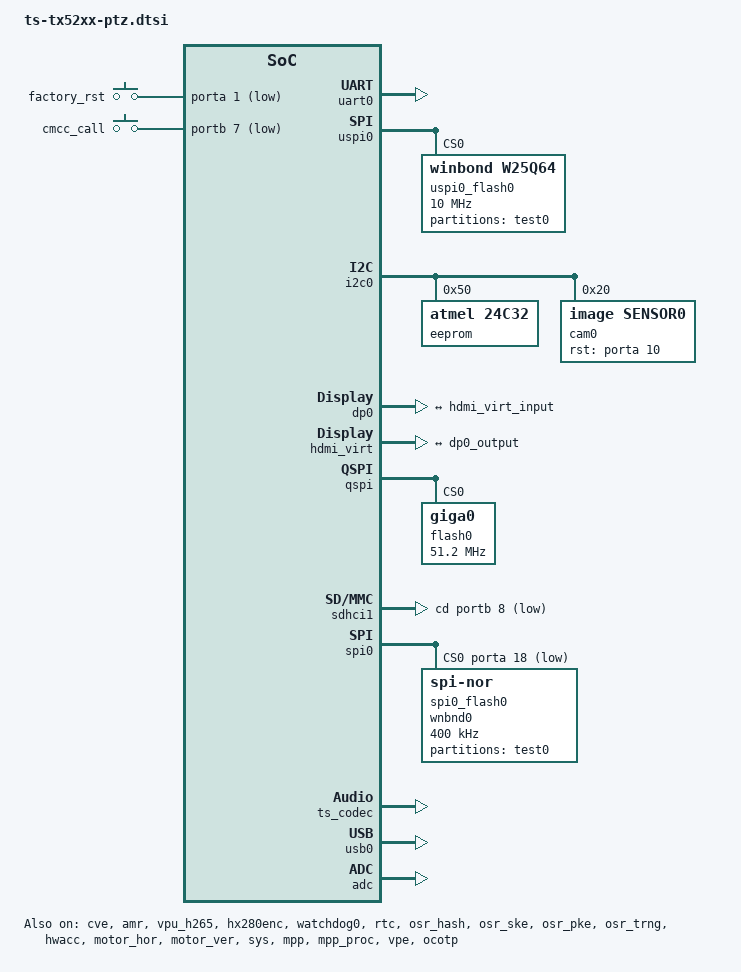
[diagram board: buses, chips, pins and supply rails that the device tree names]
/*
 * dts file for tsingmicro tx511 haps
 *
 * Copyright 2022 Tsingmicro, Inc.
 *
 * This program is free software; you can redistribute it and/or
 * modify it under the terms of the GNU General Public License as
 * published by the Free Software Foundation; either version 2 of
 * the License, or (at your option) any later version.
 */

#include "ts-tx5215.dtsi"
#include "ts-tx5215-clk.dtsi"
#include "ts-tx5215-reset.dtsi"
#include "ts-tx52xx-ptz-pinctrl.dtsi"

/ {
	chosen {
		/*bootargs = "console=ttyS0,115200n8 initrd=0xc4000000,4M init=/linuxrc
		 * root=/dev/ram0 rw rootfstype=ext4 rootwait ignore_loglevel earlycon";
		 */
		bootargs = "console=ttyS0,115200n8 ignore_loglevel earlycon";
		/*bootargs = "console=ttyS0,115200n8 ignore_loglevel";
		 *bootargs = "root=/dev/ram0 rw ramdisk=8192 initrd=0x41000000,8M
		 *console=ttyS0,115200n8 init=/linuxrc";
		 */
		stdout-path = "serial0:115200";
	};
	gpio-keys {
		compatible = "gpio-keys";
		pinctrl-names = "default","default";
		pinctrl-0 = <&gpioa1_pinctrl>;
		pinctrl-1 = <&gpiob7_pinctrl>;
		FACTORY {
			label = "factory_rst";
			gpios = <&porta 1 GPIO_ACTIVE_LOW>;
			linux,code = <0x101>;
			gpio-key,wakeup;
			debounce-interval = <10>;
		};

		CMCC_CALL {
			label = "cmcc_call";
			gpios = <&portb 7 GPIO_ACTIVE_LOW>;
			linux,code = <0x102>;
			gpio-key,wakeup;
			debounce-interval = <10>;
		};
	};
};

&uart0 {
	status = "okay";
};

&uart1 {
	pinctrl-names = "default";
	// pinctrl-0 = <&uart1_pinctrl>;
	status = "disable";
};

&uart2 {
	pinctrl-names = "default";
	// pinctrl-0 = <&uart2_pinctrl_0>;
	status = "disable";
};

&gpio0 {
	pinctrl-names = "default";
	// pinctrl-0 = <&gpioa25_pinctrl>;
	status = "okay";
};

&gpio1 {
	pinctrl-names = "default";
	pinctrl-0 = <&gpiob10_pinctrl &gpiob11_pinctrl>;
	status = "okay";
};

&usart0 {
	status = "disable";
};

&usart1 {
	status = "disable";
	pinctrl-names = "default";
	// pinctrl-0 = <&usi1_pinctrl_1>;
};

&rne_dma {
	status = "okay";
};

/*
 *&smmu {
 *	status = "disable";
 *};
 */

&uspi0 {
	status = "okay";
	#address-cells = <0x1>;
	#size-cells = <0x0>;
	pinctrl-names = "default";
	pinctrl-0 = <&usi0_pinctrl &gpioa24_pinctrl>;
	uspics-gpios = <&porta 24 GPIO_ACTIVE_HIGH>;
	uspi0_flash0:w25q64@00 {
		status = "okay";
		compatible = "winbond,w25q64","jedec,spi-nor";
		reg = <0>;
		spi-max-frequency = <10000000>;
		#address-cells = <1>;
		#size-cells = <1>;
		partition@usi2spi-test0{
			label = "test0";
			reg = <0x0 0x800000>; /* 8MB */
		};

	};
};

&i2c0 {
	status = "okay";
	pinctrl-names = "default";
	pinctrl-0 = <&i2c0_pinctrl_0>;
	eeprom: eeprom@50 {
		compatible = "atmel,24c32";
		reg = <0x50>;
		pagesize = <32>;
	};

	cam0: imgsensor0@20 {
		compatible = "image,sensor0";
		reg = <0x20>;

		pinctrl-names = "default", "default";
		pinctrl-0 = <&gpioa10_pinctrl>;
		pinctrl-1 = <&chip_out0_pinctrl>;
		rst-gpios = <&porta 10 GPIO_ACTIVE_HIGH>;

		clocks = <&ts_clk TS_CLK_TX5215_CHIP_OCLK_I0>;
		clock-names = "mclk";
		assigned-clocks = <&ts_clk TS_CLK_TX5215_CHIP_OCLK_I0>;
		assigned-clock-rates = <24000000>;
	};
};

&ui2c1 {
	status = "disable";
};


&i2c3 {
	status = "disable";
};


&dp0 {
	status = "okay";
	port {
		dp0_output: endpoint {
			remote-endpoint = <&hdmi_virt_input>;
		};
	};
};

&hdmi_virt {
	status = "okay";
	ports {
		port {
			#address-cells = <1>;
			#size-cells = <0>;

			hdmi_virt_input: endpoint@0 {
				reg = <0>;
				remote-endpoint = <&dp0_output>;
			};
		};
	};
};

&cve {
	status = "okay";
};

&amr {
	status = "okay";
};

&vpu_h265 {
	status = "okay";
};

&hx280enc {
	status = "okay";
};

&qspi {
	status = "okay";
	page-size = <256>;
	block-size = <16>;
	#address-cells = <1>;
	#size-cells = <0>;

#if 0
	nand1:spi-nand@0 {
		status = "okay";
		compatible = "spi-nand";
		reg = <0>; /* CS0 */
		//spi-max-frequency = <40000000>;
		spi-max-frequency = <20000000>;
		page-size = <2048>;
		block-size = <131072>;
		spi-rx-bus-width = <4>;
		spi-tx-bus-width = <4>;
		cdns,read-delay = <0>;
		cdns,tshsl-ns = <0>;
		cdns,tsd2d-ns = <0>;
		cdns,tchsh-ns = <0>;
		cdns,tslch-ns = <0>;
		partitions {
			compatible = "fixed-partitions";
			#address-cells = <1>;
			#size-cells = <1>;

			/* reserved for future boot direct from NAND flash
			 * (this would use the same layout as the 8MiB NOR flash)
			 */
			partition@0 {
				label = "nand-boot-reserved";
				reg = <0 0x800000>;
			};

			/* recovery / install environment */
			partition@800000 {
				label = "recovery";
				reg = <0x800000 0x2000000>;
			};

			/* ubia (first OpenWrt) - a/b names to prevent confusion with ubi0/1/etc. */
			partition@2800000 {
				label = "ubia";
				reg = <0x2800000 0x3C00000>;
			};
#if 0
			/* ubib (second OpenWrt) */
			partition@6400000 {
				label = "ubib";
				reg = <0x6400000 0x3C00000>;
			};
#endif
		};
	};

#else

	flash0: giga0@0 {
		reg = <0>; /* CS0 */
		cdns,read-delay = <2>;
		cdns,tshsl-ns = <40>;
		cdns,tsd2d-ns = <50>;
		cdns,tchsh-ns = <3>;
		cdns,tslch-ns = <4>;
		spi-max-frequency = <51200000>;
		#address-cells = <1>;
		#size-cells = <1>;
	};
#endif
};

&sdhci1 {
	status = "okay";
	max-frequency = <25000000>;
	no-1-8-v;
	pinctrl-names = "default";
	pinctrl-0 = <&mshc1_pinctrl &emmc1_pinctrl &sd_pwr_pinctrl>;
	sdpwr-gpios = <&portb 9 GPIO_ACTIVE_LOW>;
	card-detect-delay = <200>;
	cd-gpios = <&portb 8 GPIO_ACTIVE_LOW>;
};

&spi0 {
	status = "okay";
	#address-cells = <1>;
	#size-cells = <0>;
	pinctrl-names = "default";
	pinctrl-0 = <&spi0_pinctrl &gpioa18_pinctrl>;
	cs-gpios = <&porta 18 GPIO_ACTIVE_LOW>;
	spi0_flash0: wnbnd0@0 {
		compatible = "jedec,spi-nor";
		spi-max-frequency = <400000>;
		reg = <0>;
		#address-cells = <1>;
		#size-cells = <1>;
		partition@spi-test0{
			label = "test0";
			reg = <0x0 0x800000>; /* 8MB */
		};
	};
};

&watchdog0 {
	status = "okay";
};

&pwm {
	status = "disable";
	pinctrl-names = "default";
	pinctrl-0 = <&pwm0_pinctrl>;
};

&rtc {
	status = "okay";
};

&osr_hash {
	status = "okay";
};

&osr_ske {
	status = "okay";
};

&osr_pke {
	status = "okay";
};

&osr_trng {
	status = "okay";
};

&pinctrl {
	status = "okay";
};

&hwacc {
	status = "okay";
};

&dwahbdma0 {
	status = "okay";
};

&dwahbdma1 {
	status = "okay";
};

&dw_axi_dmac {
	status = "okay";
};

&motor_hor {
	status = "okay";
	pinctrl-names = "default";
	pinctrl-0 = <&motor_pinctrl0>;
	motor1-gpios = <&porta 0 GPIO_ACTIVE_HIGH>;
	motor2-gpios = <&porta 2 GPIO_ACTIVE_HIGH>;
	motor3-gpios = <&porta 3 GPIO_ACTIVE_HIGH>;
	motor4-gpios = <&porta 4 GPIO_ACTIVE_HIGH>;
};

&motor_ver {
	status = "okay";
	pinctrl-names = "default";
	pinctrl-0 = <&motor_pinctrl1>;
	motor1-gpios = <&porta 5 GPIO_ACTIVE_HIGH>;
	motor2-gpios = <&porta 6 GPIO_ACTIVE_HIGH>;
	motor3-gpios = <&porta 7 GPIO_ACTIVE_HIGH>;
	motor4-gpios = <&porta 8 GPIO_ACTIVE_HIGH>;
};

&pdmic {
	pinctrl-names = "default";
	pinctrl-0 = <&pdmic_pinctrl_0>;
	ts,model = "PDMIC @ tsm-tx5215-fpga";
	ts,mic-min-freq = <1024000>;
	ts,mic-max-freq = <3072000>;
	ts,mic-offset = <0x0>;
	status = "disable";
	dmas = <&dwahbdma1 0x6 1 0>;
	dma-names = "rx";
};

&ts_codec {
	status = "okay";
	ts,model = "ts-codec";
	dmas = <&dwahbdma1 0xe 1 1 &dwahbdma1 0xd 1 0>;
	dma-names = "tx","rx";
	pinctrl-names = "default";
	pinctrl-0 = <&gpioa11_pinctrl>;
	speaker-gpios = <&porta 11 GPIO_ACTIVE_HIGH>;
};

&sys {
	status = "okay";
};

&mpp {
	status = "okay";
};

&mpp_proc {
	status = "okay";
};

&vpe {
	status = "okay";
};

&usb0 {
	status = "okay";
	pinctrl-names = "default";
	pinctrl-0 = <&drvvbus_pinctrl>;
	drvvbus-gpios  = <&porta 9 GPIO_ACTIVE_HIGH>;
};

&ocotp {
	status = "okay";
};

&adc {
	status = "okay";
};
